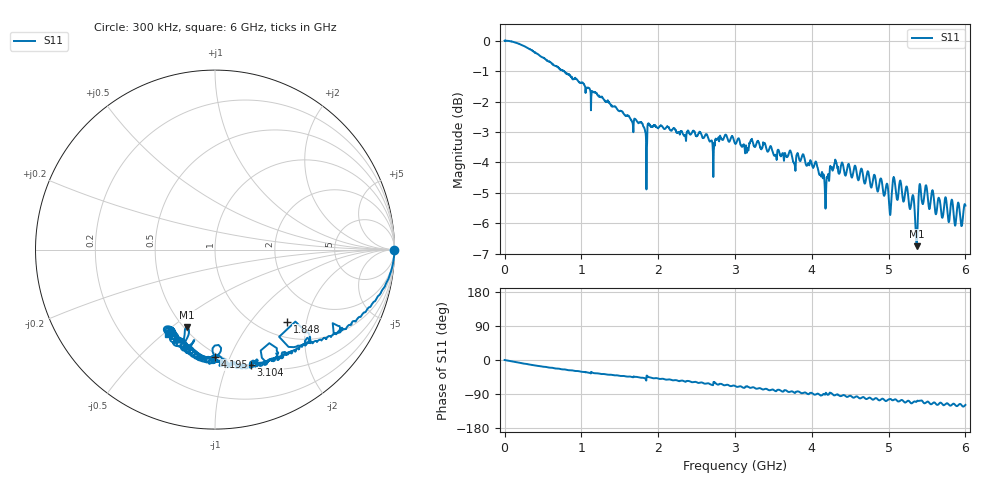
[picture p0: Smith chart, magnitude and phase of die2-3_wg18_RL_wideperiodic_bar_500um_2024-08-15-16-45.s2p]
!Keysight Technologies,P9374A,MY57304198,A.17.20.09
!Date: Thursday, August 15, 2024 16:45:14
!Correction: S11(C  1-Port  )
!S21(C  1-Port  )
!S12(Off)
!S22(Off)
!S2P File: Measurements: S11, S21, S12, S22:
# Hz S  dB  R 50
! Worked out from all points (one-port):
!   6000 points, 300 kHz to 6 GHz, reference 50 ohm
!   lowest |S11| = -6.7 dB at 5.365 GHz (marker M1), VSWR 2.70, Z = 25.9 - j28.4 ohm
!   |S11| at or under -10 dB: nowhere
!   S11 on the Smith chart (normalised r, x): 300 kHz: open; 1.848 GHz: 1.30, -1.55; 3.104 GHz: 0.52, -1.22; 4.195 GHz: 0.48, -0.88; 6 GHz: 0.40, -0.52
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300000  -0.00 -0.0  -200.00 45.0  -200.00 45.0  -200.00 45.0
4.173487e8  -0.42 -15.1  -200.00 45.0  -200.00 45.0  -200.00 45.0
1.000417e9  -1.38 -31.1  -200.00 45.0  -200.00 45.0  -200.00 45.0
1.512476e9  -2.31 -42.2  -200.00 45.0  -200.00 45.0  -200.00 45.0
1.847516e9  -4.88 -45.0  -200.00 45.0  -200.00 45.0  -200.00 45.0
1.88252e9  -2.75 -45.5  -200.00 45.0  -200.00 45.0  -200.00 45.0
2.000533e9  -2.87 -49.0  -200.00 45.0  -200.00 45.0  -200.00 45.0
3.00065e9  -3.38 -68.5  -200.00 45.0  -200.00 45.0  -200.00 45.0
3.103662e9  -3.45 -72.8  -200.00 45.0  -200.00 45.0  -200.00 45.0
4.000767e9  -4.06 -87.0  -200.00 45.0  -200.00 45.0  -200.00 45.0
4.11678e9  -4.43 -93.9  -200.00 45.0  -200.00 45.0  -200.00 45.0
4.194789e9  -4.48 -89.8  -200.00 45.0  -200.00 45.0  -200.00 45.0
4.249796e9  -4.17 -86.8  -200.00 45.0  -200.00 45.0  -200.00 45.0
4.310803e9  -3.96 -92.1  -200.00 45.0  -200.00 45.0  -200.00 45.0
4.964879e9  -4.83 -108.4  -200.00 45.0  -200.00 45.0  -200.00 45.0
5.000883e9  -5.12 -104.0  -200.00 45.0  -200.00 45.0  -200.00 45.0
5.071892e9  -4.50 -104.7  -200.00 45.0  -200.00 45.0  -200.00 45.0
5.301919e9  -5.23 -114.3  -200.00 45.0  -200.00 45.0  -200.00 45.0
5.364926e9  -6.75 -109.7  -200.00 45.0  -200.00 45.0  -200.00 45.0
5.414932e9  -4.80 -106.9  -200.00 45.0  -200.00 45.0  -200.00 45.0
5.555948e9  -5.08 -116.7  -200.00 45.0  -200.00 45.0  -200.00 45.0
6e9  -5.42 -118.6  -200.00 45.0  -200.00 45.0  -200.00 45.0
